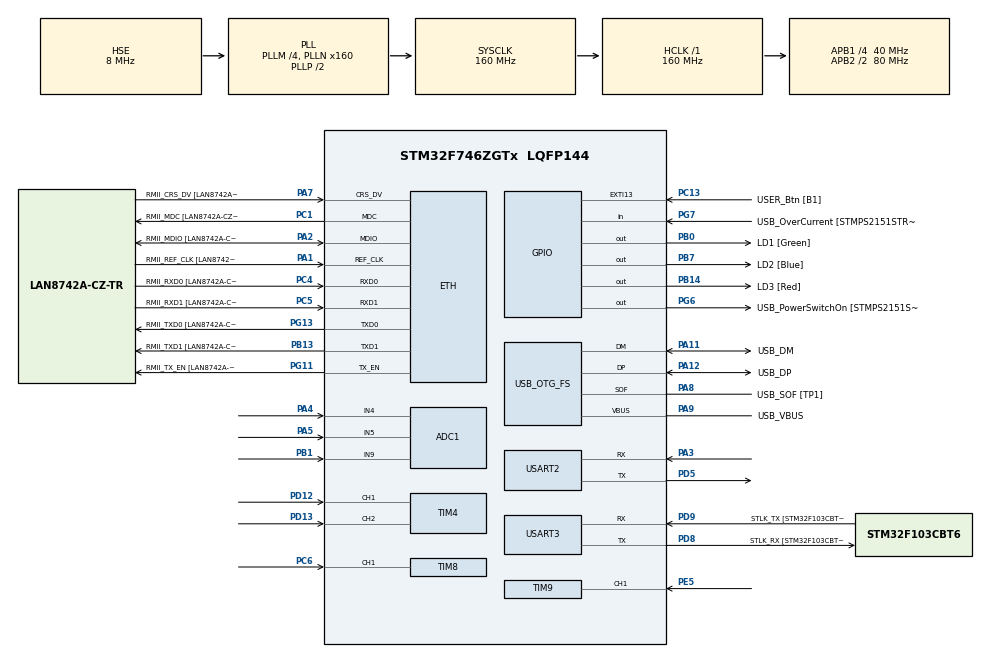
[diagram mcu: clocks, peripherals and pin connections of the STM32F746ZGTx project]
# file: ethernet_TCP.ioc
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ADC1.Channel-0\#ChannelRegularConversion=ADC_CHANNEL_9
ADC1.Channel-2\#ChannelInjectedConversion=ADC_CHANNEL_4
ADC1.Channel-3\#ChannelInjectedConversion=ADC_CHANNEL_5
ADC1.Channel-4\#ChannelInjectedConversion=ADC_CHANNEL_9
ADC1.ExternalTrigConv=ADC_EXTERNALTRIGCONV_T6_TRGO
ADC1.ExternalTrigInjecConv=ADC_EXTERNALTRIGINJECCONV_T1_TRGO
ADC1.InjNumberOfConversion=3
ADC1.InjectedOffset-2\#ChannelInjectedConversion=0
ADC1.InjectedOffset-3\#ChannelInjectedConversion=0
ADC1.InjectedOffset-4\#ChannelInjectedConversion=0
ADC1.InjectedRank-2\#ChannelInjectedConversion=1
ADC1.InjectedRank-3\#ChannelInjectedConversion=2
ADC1.InjectedRank-4\#ChannelInjectedConversion=3
ADC1.NbrOfConversion=1
ADC1.NbrOfConversionFlag=1
ADC1.Rank-0\#ChannelRegularConversion=1
ADC1.SamplingTime-0\#ChannelRegularConversion=ADC_SAMPLETIME_15CYCLES
ADC1.SamplingTime-2\#ChannelInjectedConversion=ADC_SAMPLETIME_15CYCLES
ADC1.SamplingTime-3\#ChannelInjectedConversion=ADC_SAMPLETIME_15CYCLES
ADC1.SamplingTime-4\#ChannelInjectedConversion=ADC_SAMPLETIME_3CYCLES
ADC1.master=1
ARM.CMSIS.5.6.0.CMSISJjCORE=true
ARM.CMSIS.5.6.0.CMSISJjDSP=Source
ETH.MediaInterface=ETH_MEDIA_INTERFACE_RMII
ETH.PHY_Name=LAN8742A_PHY_ADDRESS
ETH.PHY_Value=0
ETH.PhyAddress=0
LWIP.GATEWAY_ADDRESS=192.168.000.001
LWIP.IP_ADDRESS=192.168.000.006
LWIP.LWIP_DHCP=0
LWIP.NETMASK_ADDRESS=255.255.255.000
LWIP.Version=v2.1.2_Cube
Mcu.Family=STM32F7
Mcu.Name=STM32F746ZGTx
Mcu.Package=LQFP144
NVIC.ADC_IRQn=true\:5\:0\:true\:false\:true\:true\:true
NVIC.EXTI15_10_IRQn=true\:15\:0\:true\:false\:true\:true\:true
NVIC.PriorityGroup=NVIC_PRIORITYGROUP_4
NVIC.TIM4_IRQn=true\:1\:0\:true\:false\:true\:true\:true
NVIC.USART2_IRQn=true\:4\:0\:true\:false\:true\:true\:true
PA1.GPIO_Label=RMII_REF_CLK [LAN8742A-CZ-TR_REFCLK0]
PA1.Mode=RMII
PA1.Signal=ETH_REF_CLK
PA10.GPIO_Label=USB_ID
PA10.Signal=USB_OTG_FS_ID
PA11.GPIO_Label=USB_DM
PA11.Mode=Device_Only
PA11.Signal=USB_OTG_FS_DM
PA12.GPIO_Label=USB_DP
PA12.Mode=Device_Only
PA12.Signal=USB_OTG_FS_DP
PA13.GPIO_Label=TMS
PA13.Mode=Serial_Wire
PA13.Signal=SYS_JTMS-SWDIO
PA14.GPIO_Label=TCK
PA14.Mode=Serial_Wire
PA14.Signal=SYS_JTCK-SWCLK
PA2.GPIO_Label=RMII_MDIO [LAN8742A-CZ-TR_MDIO]
PA2.Mode=RMII
PA2.Signal=ETH_MDIO
PA3.Mode=Asynchronous
PA3.Signal=USART2_RX
PA4.Signal=ADCx_IN4
PA5.Signal=ADCx_IN5
PA6.GPIO_PuPd=GPIO_PULLDOWN
PA6.GPIO_Speed=GPIO_SPEED_FREQ_HIGH
PA6.Signal=S_TIM3_CH1
PA7.GPIO_Label=RMII_CRS_DV [LAN8742A-CZ-TR_CRS_DV]
PA7.Mode=RMII
PA7.Signal=ETH_CRS_DV
PA8.GPIO_Label=USB_SOF [TP1]
PA8.Mode=Activate_SOF_FS
PA8.Signal=USB_OTG_FS_SOF
PA9.GPIO_Label=USB_VBUS
PA9.Mode=Activate_VBUS
PA9.Signal=USB_OTG_FS_VBUS
PB0.GPIO_Label=LD1 [Green]
PB0.Signal=GPIO_Output
PB1.Signal=ADCx_IN9
PB13.GPIO_Label=RMII_TXD1 [LAN8742A-CZ-TR_TXD1]
PB13.Mode=RMII
PB13.Signal=ETH_TXD1
PB14.GPIO_Label=LD3 [Red]
PB14.Signal=GPIO_Output
PB3.GPIO_Label=SW0
PB3.Signal=SYS_JTDO-SWO
PB7.GPIO_Label=LD2 [Blue]
PB7.Signal=GPIO_Output
PC1.GPIO_Label=RMII_MDC [LAN8742A-CZ-TR_MDC]
PC1.Mode=RMII
PC1.Signal=ETH_MDC
PC13.GPIO_Label=USER_Btn [B1]
PC13.Signal=GPXTI13
PC14/OSC32_IN.Mode=LSE-External-Oscillator
PC14/OSC32_IN.Signal=RCC_OSC32_IN
PC15/OSC32_OUT.Mode=LSE-External-Oscillator
PC15/OSC32_OUT.Signal=RCC_OSC32_OUT
PC4.GPIO_Label=RMII_RXD0 [LAN8742A-CZ-TR_RXD0]
PC4.Mode=RMII
PC4.Signal=ETH_RXD0
PC5.GPIO_Label=RMII_RXD1 [LAN8742A-CZ-TR_RXD1]
PC5.Mode=RMII
PC5.Signal=ETH_RXD1
PC6.GPIO_PuPd=GPIO_PULLDOWN
PC6.GPIO_Speed=GPIO_SPEED_FREQ_HIGH
PC6.Signal=S_TIM8_CH1
PC7.GPIO_PuPd=GPIO_PULLDOWN
PC7.GPIO_Speed=GPIO_SPEED_FREQ_HIGH
PC7.Signal=S_TIM3_CH2
PD12.GPIO_PuPd=GPIO_PULLDOWN
PD12.GPIO_Speed=GPIO_SPEED_FREQ_HIGH
PD12.Signal=S_TIM4_CH1
PD13.GPIO_PuPd=GPIO_PULLDOWN
PD13.GPIO_Speed=GPIO_SPEED_FREQ_HIGH
PD13.Signal=S_TIM4_CH2
PD5.Mode=Asynchronous
PD5.Signal=USART2_TX
PD8.GPIO_Label=STLK_RX [STM32F103CBT6_PA3]
PD8.Mode=Asynchronous
PD8.Signal=USART3_TX
PD9.GPIO_Label=STLK_TX [STM32F103CBT6_PA2]
PD9.Mode=Asynchronous
PD9.Signal=USART3_RX
PE5.GPIO_PuPd=GPIO_PULLDOWN
PE5.GPIO_Speed=GPIO_SPEED_FREQ_HIGH
PE5.Signal=S_TIM9_CH1
PE9.GPIO_PuPd=GPIO_PULLDOWN
PE9.GPIO_Speed=GPIO_SPEED_FREQ_HIGH
PE9.Signal=S_TIM1_CH1
PG11.GPIO_Label=RMII_TX_EN [LAN8742A-CZ-TR_TXEN]
PG11.Mode=RMII
PG11.Signal=ETH_TX_EN
PG13.GPIO_Label=RMII_TXD0 [LAN8742A-CZ-TR_TXD0]
PG13.Mode=RMII
PG13.Signal=ETH_TXD0
PG6.GPIO_Label=USB_PowerSwitchOn [STMPS2151STR_EN]
PG6.Signal=GPIO_Output
PG7.GPIO_Label=USB_OverCurrent [STMPS2151STR_FAULT]
PG7.Signal=GPIO_Input
PH0/OSC_IN.GPIO_Label=MCO [STM32F103CBT6_PA8]
PH0/OSC_IN.Mode=HSE-External-Clock-Source
PH0/OSC_IN.Signal=RCC_OSC_IN
PH1/OSC_OUT.Mode=HSE-External-Clock-Source
PH1/OSC_OUT.Signal=RCC_OSC_OUT
ProjectManager.HeapSize=0x20
ProjectManager.StackSize=0x400
ProjectManager.TargetToolchain=STM32CubeIDE
RCC.48MHZClocksFreq_Value=24000000
RCC.AHBFreq_Value=160000000
RCC.APB1CLKDivider=RCC_HCLK_DIV4
RCC.APB1Freq_Value=40000000
RCC.APB1TimFreq_Value=80000000
RCC.APB2CLKDivider=RCC_HCLK_DIV2
RCC.APB2Freq_Value=80000000
RCC.APB2TimFreq_Value=160000000
RCC.CortexFreq_Value=160000000
RCC.HCLKFreq_Value=160000000
RCC.HSE_VALUE=8000000
RCC.HSI_VALUE=16000000
RCC.PLL48CLockSelection=RCC_CLK48SOURCE_PLLSAIP
RCC.PLLM=4
RCC.PLLMUL=RCC_PLL_MUL9
RCC.PLLN=160
RCC.PLLQ=8
RCC.PLLSAIP=RCC_PLLSAIP_DIV8
RCC.PRESCALERUSB=RCC_USBCLKSOURCE_PLL_DIV1_5
RCC.SYSCLKFreq_VALUE=160000000
RCC.SYSCLKSource=RCC_SYSCLKSOURCE_PLLCLK
RCC.SYSCLKSourceVirtual=RCC_SYSCLKSOURCE_PLLCLK
RCC.USBFreq_Value=48000000
RCC.VCOOutputFreq_Value=320000000
SH.ADCx_IN4.0=ADC1_IN4,IN4
SH.ADCx_IN5.0=ADC1_IN5,IN5
SH.ADCx_IN9.0=ADC1_IN9,IN9
SH.S_TIM1_CH1.0=TIM1_CH1
SH.S_TIM3_CH1.0=TIM3_CH1
SH.S_TIM3_CH2.0=TIM3_CH2
SH.S_TIM4_CH1.0=TIM4_CH1,Encoder_Interface
SH.S_TIM4_CH2.0=TIM4_CH2,Encoder_Interface
SH.S_TIM8_CH1.0=TIM8_CH1,TriggerSource_TI1FP1
SH.S_TIM8_CH1.1=TIM8_CH1,Input_Capture1_from_TI1
SH.S_TIM9_CH1.0=TIM9_CH1,TriggerSource_TI1FP1
TIM1.TIM_MasterOutputTrigger=TIM_TRGO_UPDATE
TIM1.TIM_MasterOutputTrigger2=TIM_TRGO2_UPDATE
TIM8.Channel-Input_Capture1_from_TI1=TIM_CHANNEL_1
USART2.VirtualMode-Asynchronous=VM_ASYNC
USART3.VirtualMode-Asynchronous=VM_ASYNC
USB_OTG_FS.VirtualMode=Device_Only
VP_ARM.CMSIS_VS_CMSISJjCORE_5.3.0.Mode=CMSISJjCORE
VP_ARM.CMSIS_VS_CMSISJjDSP_1.7.0.Mode=CMSISJjDSP
VP_LWIP_VS_Enabled.Mode=Enabled
VP_TIM1_VS_ClockSourceINT.Mode=Internal
VP_TIM8_VS_ClockSourceINT.Mode=Internal
VP_TIM8_VS_ControllerModeReset.Mode=Reset Mode
VP_TIM9_VS_ControllerModeClock.Mode=Clock Mode
board=NUCLEO-F746ZG

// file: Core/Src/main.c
/* USER CODE BEGIN Header */
/**
  ******************************************************************************
  * @file           : main.c
  * @brief          : Main program body
  ******************************************************************************
  * @attention
  *
  * <h2><center>&copy; Copyright (c) 2020 STMicroelectronics.
  * All rights reserved.</center></h2>
  *
  * This software component is licensed by ST under BSD 3-Clause license,
  * the "License"; You may not use this file except in compliance with the
  * License. You may obtain a copy of the License at:
  *                        opensource.org/licenses/BSD-3-Clause
  *
  ******************************************************************************
  */
/* USER CODE END Header */

#include "main.h"
#include "adc.h"
#include "lwip.h"
#include "tim.h"
#include "usart.h"
#include "usb_otg.h"
#include "gpio.h"

/* USER CODE BEGIN Includes */

#include "stm32_tcp_echoserver.h"
#include "ethernet.h"
#include "cJSON.h"
#include "cJSON_Utils.h"
#include "stdint.h"
#include "math.h"
#include "stdio.h"
#include "stdlib.h"
#include "arm_math.h"

#define SYSCLK_FREQ      160000000uL

////////// TIMER 8 /////////////////////////////////////////////////////////////
#define TIM8_ARR  (65500-1)
#define TIM8_PSC  (10-1)
#define freq_TIM8 (SYSCLK_FREQ/(TIM8_PSC+1))  //obr/min mechaniczne
#define revolution_per_min ((freq_TIM8*60.0)/(720.0))
////////// TIMER 8 /////////////////////////////////////////////////////////////

////////// TIMER 3 encoder /////////////////////////////////////////////////////////////
#define TIM4_ARR  1439
#define TIM4_PSC  0
////////// TIMER 3 /////////////////////////////////////////////////////////////

////////// TIMER 1 PWM input /////////////////////////////////////////////////////////////
#define TIM1_ARR  0xFFFF
#define TIM1_PSC  0
////////// TIMER 1 PWM input /////////////////////////////////////////////////////////////

#define size_curr 40
/* USER CODE END Includes */

/* USER CODE BEGIN PV */
volatile int32_t adc_Ia,adc_Ib,adc_Ic,count,adc_off_Ia,adc_off_Ib,adc_off_Ic;
volatile float Ia,Ib,Ic;
volatile float pomiar_Ia[size_curr],pomiar_Ib[size_curr],pomiar_Ic[size_curr];
volatile uint16_t limit;
volatile uint8_t direction;
volatile uint32_t index_angle_loop;
volatile int32_t counter_angle;

/* USER CODE END PV */

void SystemClock_Config(void);
/* USER CODE BEGIN PFP */

void HAL_GPIO_EXTI_Callback(uint16_t GPIO_Pin)
{
	if(GPIO_Pin==GPIO_PIN_13)
	{

	}

}

void HAL_TIM_PeriodElapsedCallback(TIM_HandleTypeDef *htim)
{
	if(htim->Instance==TIM4)
	{
		if(direction==0)
			counter_angle++;
		else
			counter_angle--;

	}

}

void HAL_ADCEx_InjectedConvCpltCallback(ADC_HandleTypeDef *hadc)
{
	uint16_t i,j=0;

  	capture_tim8_ccr1= TIM8->CCR1;
  	capture_tim4_ccr1= TIM4->CCR1;

  	speed=revolution_per_min/capture_tim8_ccr1;

  	if(direction!=0)  // jeżeli
  		speed=-speed;

  	if((speed<120) && (speed>-120))
  	 speed=0;

 	if(counter_angle>=0)
	   angle=capture_tim4_ccr1 + (counter_angle * 720);
	else
	   angle=-capture_tim4_ccr1 + (counter_angle * 720);

	 adc_Ia= HAL_ADCEx_InjectedGetValue(&hadc1, ADC_INJECTED_RANK_1);
   //while((hadc1.Instance->SR &= (0x1<<5))!=0){}
    adc_Ib =HAL_ADCEx_InjectedGetValue(&hadc1, ADC_INJECTED_RANK_2);
	//while((hadc1.Instance->SR &= (0x1<<5))!=0){}
    adc_Ic =HAL_ADCEx_InjectedGetValue(&hadc1, ADC_INJECTED_RANK_3);

    if(count<5)
    {
    	count++;
    }
    else if(count==5)
    {
    	 count++;
    	 adc_off_Ia=adc_Ia;
   	 	 adc_off_Ib=adc_Ib;
   	 	 adc_off_Ic=adc_Ic;

    }
    else
    {
    	Ia=-(adc_Ia-adc_off_Ia)* 0.004355;
    	Ib=-(adc_Ib-adc_off_Ib)* 0.004355;
    	Ic=-(adc_Ic-adc_off_Ic)* 0.004355;

    	pomiar_Ia[0]=Ia;
    	pomiar_Ib[0]=Ib;
    	pomiar_Ic[0]=Ic;

    	while(i<(size_curr-1))
    	{
    		j++;
    		pomiar_Ia[j]=pomiar_Ia[i];
    		pomiar_Ib[j]=pomiar_Ib[i];
    		pomiar_Ic[j]=pomiar_Ic[i];
    		i++;

    	}

    	limit++;
    	if(limit>=size_curr)
    	{
    		arm_rms_f322(pomiar_Ia, size_curr, &rms_Ia);
    		arm_rms_f322(pomiar_Ib, size_curr, &rms_Ib);
    		arm_rms_f322(pomiar_Ic, size_curr, &rms_Ic);
    		limit=size_curr+1;

    	}

    }

  HAL_ADCEx_InjectedStart_IT(&hadc1);

}

/* USER CODE END PFP */

int main(void)
{

  /* MCU Configuration--------------------------------------------------------*/

  /* Reset of all peripherals, Initializes the Flash interface and the Systick. */
  HAL_Init();

  /* Configure the system clock */
  SystemClock_Config();

  /* Initialize all configured peripherals */
  MX_GPIO_Init();
  MX_USART3_UART_Init();
  MX_USB_OTG_FS_PCD_Init();
  MX_LWIP_Init();
  MX_TIM8_Init();
  MX_USART2_UART_Init();
  MX_ADC1_Init();
  MX_TIM1_Init();
  MX_TIM9_Init();
  MX_TIM4_Init();
  /* USER CODE BEGIN 2 */
  tcp_echoserver_init();

 TIM4->ARR=TIM4_ARR;
 TIM4->PSC=TIM4_PSC;
 HAL_TIM_Base_Start_IT(&htim4);
 HAL_TIM_Encoder_Start_IT(&htim4, TIM_CHANNEL_1);
 HAL_TIM_Encoder_Start_IT(&htim4, TIM_CHANNEL_2);

 TIM8->PSC=TIM8_PSC;
 TIM8->ARR=TIM8_ARR;
 HAL_TIM_IC_Start(&htim8, TIM_CHANNEL_1);

 TIM1->PSC=TIM1_PSC;
 TIM1->ARR=TIM1_ARR;
 HAL_TIM_Base_Start(&htim1);
 HAL_TIM_IC_Start(&htim1, TIM_CHANNEL_1);

 HAL_ADCEx_InjectedStart_IT(&hadc1);

  /* USER CODE END 2 */

  /* Infinite loop */
  /* USER CODE BEGIN WHILE */
  while (1)
  {
	  ethernetif_input(&gnetif);
	      sys_check_timeouts();

	    direction= (TIM4->CR1 & 0x10);

    /* USER CODE END WHILE */

  }
}

void SystemClock_Config(void)
{
  RCC_OscInitTypeDef RCC_OscInitStruct = {0};
  RCC_ClkInitTypeDef RCC_ClkInitStruct = {0};
  RCC_PeriphCLKInitTypeDef PeriphClkInitStruct = {0};

  /** Configure LSE Drive Capability
  */
  HAL_PWR_EnableBkUpAccess();
  /** Configure the main internal regulator output voltage
  */
  __HAL_RCC_PWR_CLK_ENABLE();
  __HAL_PWR_VOLTAGESCALING_CONFIG(PWR_REGULATOR_VOLTAGE_SCALE2);
  /** Initializes the CPU, AHB and APB busses clocks
  */
  RCC_OscInitStruct.OscillatorType = RCC_OSCILLATORTYPE_HSE;
  RCC_OscInitStruct.HSEState = RCC_HSE_BYPASS;
  RCC_OscInitStruct.PLL.PLLState = RCC_PLL_ON;
  RCC_OscInitStruct.PLL.PLLSource = RCC_PLLSOURCE_HSE;
  RCC_OscInitStruct.PLL.PLLM = 4;
  RCC_OscInitStruct.PLL.PLLN = 160;
  RCC_OscInitStruct.PLL.PLLP = RCC_PLLP_DIV2;
  RCC_OscInitStruct.PLL.PLLQ = 8;
  if (HAL_RCC_OscConfig(&RCC_OscInitStruct) != HAL_OK)
  {
    Error_Handler();
  }
  /** Initializes the CPU, AHB and APB busses clocks
  */
  RCC_ClkInitStruct.ClockType = RCC_CLOCKTYPE_HCLK|RCC_CLOCKTYPE_SYSCLK
                              |RCC_CLOCKTYPE_PCLK1|RCC_CLOCKTYPE_PCLK2;
  RCC_ClkInitStruct.SYSCLKSource = RCC_SYSCLKSOURCE_PLLCLK;
  RCC_ClkInitStruct.AHBCLKDivider = RCC_SYSCLK_DIV1;
  RCC_ClkInitStruct.APB1CLKDivider = RCC_HCLK_DIV4;
  RCC_ClkInitStruct.APB2CLKDivider = RCC_HCLK_DIV2;

  if (HAL_RCC_ClockConfig(&RCC_ClkInitStruct, FLASH_LATENCY_5) != HAL_OK)
  {
    Error_Handler();
  }
  PeriphClkInitStruct.PeriphClockSelection = RCC_PERIPHCLK_USART2|RCC_PERIPHCLK_USART3
                              |RCC_PERIPHCLK_CLK48;
  PeriphClkInitStruct.PLLSAI.PLLSAIN = 192;
  PeriphClkInitStruct.PLLSAI.PLLSAIR = 2;
  PeriphClkInitStruct.PLLSAI.PLLSAIQ = 2;
  PeriphClkInitStruct.PLLSAI.PLLSAIP = RCC_PLLSAIP_DIV8;
  PeriphClkInitStruct.PLLSAIDivQ = 1;
  PeriphClkInitStruct.PLLSAIDivR = RCC_PLLSAIDIVR_2;
  PeriphClkInitStruct.Usart2ClockSelection = RCC_USART2CLKSOURCE_PCLK1;
  PeriphClkInitStruct.Usart3ClockSelection = RCC_USART3CLKSOURCE_PCLK1;
  PeriphClkInitStruct.Clk48ClockSelection = RCC_CLK48SOURCE_PLLSAIP;
  if (HAL_RCCEx_PeriphCLKConfig(&PeriphClkInitStruct) != HAL_OK)
  {
    Error_Handler();
  }
}

void Error_Handler(void)
{
}

/************************ (C) COPYRIGHT STMicroelectronics *****END OF FILE****/
